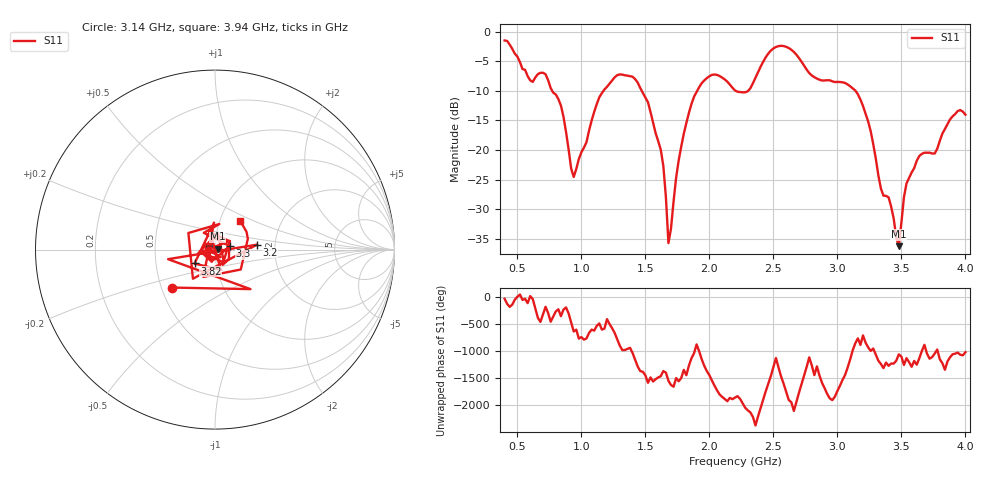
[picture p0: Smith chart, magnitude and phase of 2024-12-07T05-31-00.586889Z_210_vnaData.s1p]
!Created with skrf (http://scikit-rf.org).
# Hz S RI R 50.0
!freq ReS11 ImS11
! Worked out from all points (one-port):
!   181 points, 400 MHz to 4 GHz, reference 50 ohm
!   lowest |S11| = -36.2 dB at 3.48 GHz (marker M1), VSWR 1.03, Z = 51.5 + j0.453 ohm
!   |S11| at or under -10 dB: 772.2 MHz to 1.172 GHz (400 MHz wide, 41.1 % of centre); 1.472 GHz to 1.904 GHz (432.6 MHz wide, 25.6 % of centre); 3.142 GHz to end of sweep (the widest 3 of 4)
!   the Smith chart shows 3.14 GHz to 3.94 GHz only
!   S11 on the Smith chart (normalised r, x): 3.14 GHz: 0.57, -0.27; 3.2 GHz: 1.61, +0.09; 3.3 GHz: 1.18, +0.05; 3.82 GHz: 0.79, -0.12; 3.94 GHz: 1.25, +0.42
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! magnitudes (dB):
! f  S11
! 400 MHz  -1.5
! 600 MHz  -8.2
! 720 MHz  -7.2
! 860 MHz  -14.4
! 940 MHz  -24.5
! 1.14 GHz  -11.1
! 1.3 GHz  -7.2
! 1.52 GHz  -11.9
! 1.64 GHz  -22.7
! 1.68 GHz  -35.7
! 1.76 GHz  -21.7
! 1.86 GHz  -12.2
! 1.94 GHz  -8.7
! 2.2 GHz  -9.9
! 2.3 GHz  -10.1
! 2.5 GHz  -2.8
! 2.66 GHz  -3.4
! 2.82 GHz  -7.7
! 3.1 GHz  -9.2
! 3.14 GHz  -9.9
! 3.2 GHz  -12.6
! 3.3 GHz  -21.4
! 3.48 GHz  -36.2
! 3.52 GHz  -27.9
! 3.56 GHz  -24.7
! 3.82 GHz  -17.2
! 3.94 GHz  -13.4
! 4 GHz  -14.0
